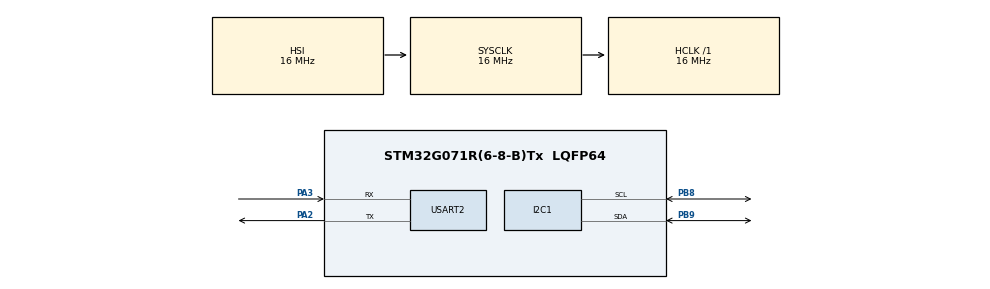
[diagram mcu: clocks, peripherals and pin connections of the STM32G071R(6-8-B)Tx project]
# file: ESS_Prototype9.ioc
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I2C1.Timing=0x00503D58
Mcu.Family=STM32G0
Mcu.Name=STM32G071R(6-8-B)Tx
Mcu.Package=LQFP64
NVIC.I2C1_IRQn=true\:0\:0\:false\:false\:true\:true\:true\:true
NVIC.RCC_IRQn=true\:0\:0\:false\:false\:true\:true\:false\:true
NVIC.USART2_IRQn=true\:0\:0\:false\:false\:true\:true\:true\:true
PA13.Mode=Serial_Wire
PA13.Signal=SYS_SWDIO
PA14-BOOT0.Mode=Serial_Wire
PA14-BOOT0.Signal=SYS_SWCLK
PA2.Mode=Asynchronous
PA2.Signal=USART2_TX
PA3.Mode=Asynchronous
PA3.Signal=USART2_RX
PB8.Mode=I2C
PB8.Signal=I2C1_SCL
PB9.Mode=I2C
PB9.Signal=I2C1_SDA
ProjectManager.HeapSize=0x200
ProjectManager.StackSize=0x400
ProjectManager.TargetToolchain=STM32CubeIDE
RCC.AHBFreq_Value=16000000
RCC.CortexFreq_Value=16000000
RCC.EXTERNAL_CLOCK_VALUE=48000
RCC.HCLKFreq_Value=16000000
RCC.HSE_VALUE=8000000
RCC.HSI_VALUE=16000000
RCC.LSE_VALUE=32768
RCC.SYSCLKFreq_VALUE=16000000
RCC.VCOOutputFreq_Value=128000000
USART2.VirtualMode-Asynchronous=VM_ASYNC
board=custom

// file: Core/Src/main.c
/* USER CODE BEGIN Header */
/**
  ******************************************************************************
  * @file           : main.c
  * @brief          : Main program body
  ******************************************************************************
  * @attention
  *
  * Copyright (c) 2025 STMicroelectronics.
  * All rights reserved.
  *
  * This software is licensed under terms that can be found in the LICENSE file
  * in the root directory of this software component.
  * If no LICENSE file comes with this software, it is provided AS-IS.
  *
  ******************************************************************************
  */
/* USER CODE END Header */
#include "main.h"
#include "i2c.h"
#include "usart.h"
#include "gpio.h"

/* USER CODE BEGIN Includes */
#include "bme68x.h"
#include "bme68x_defs.h"
#include <stdio.h>
#include <string.h>
#include <math.h>
/* USER CODE END Includes */

/* USER CODE BEGIN PD */
#define BME68X_I2C_ADDR  0x77  // Your BME680 I2C address

/* USER CODE END PD */

/* USER CODE BEGIN PV */
extern I2C_HandleTypeDef hi2c1;
extern UART_HandleTypeDef huart2;

struct bme68x_dev bme;
struct bme68x_conf conf;
struct bme68x_heatr_conf heatr_conf;
struct bme68x_data data;

uint8_t rx_byte;
char command_buffer[32];
uint8_t cmd_index = 0;

/* USER CODE END PV */

void SystemClock_Config(void);

/* USER CODE BEGIN 0 */
int _write(int file, char *ptr, int len) {
    HAL_UART_Transmit(&huart2, (uint8_t*)ptr, len, HAL_MAX_DELAY);
    return len;
}

int8_t user_i2c_read(uint8_t reg_addr, uint8_t *data, uint32_t len, void *intf_ptr) {
    I2C_HandleTypeDef *hi2c = (I2C_HandleTypeDef*)intf_ptr;
    if (HAL_I2C_Mem_Read(hi2c, BME68X_I2C_ADDR << 1, reg_addr,
                         I2C_MEMADD_SIZE_8BIT, data, len, HAL_MAX_DELAY) == HAL_OK)
        return 0;
    else
        return -1;
}

int8_t user_i2c_write(uint8_t reg_addr, const uint8_t *data, uint32_t len, void *intf_ptr) {
    I2C_HandleTypeDef *hi2c = (I2C_HandleTypeDef*)intf_ptr;
    if (HAL_I2C_Mem_Write(hi2c, BME68X_I2C_ADDR << 1, reg_addr,
                          I2C_MEMADD_SIZE_8BIT, (uint8_t*)data, len, HAL_MAX_DELAY) == HAL_OK)
        return 0;
    else
        return -1;
}

void user_delay_us(uint32_t period, void *intf_ptr) {
    // crude software delay loop (not precise)
    for (volatile uint32_t i = 0; i < period * 10; i++) {
        __NOP();
    }
}

void BME680_Init(void) {
    bme.intf = BME68X_I2C_INTF;
    bme.read = user_i2c_read;
    bme.write = user_i2c_write;
    bme.delay_us = user_delay_us;
    bme.intf_ptr = &hi2c1;

    if (bme68x_init(&bme) != BME68X_OK) {
        printf("BME680 init failed!\r\n");
        while (1);
    }

    // Sensor configuration (optimized for BME680)
    conf.os_temp = BME68X_OS_8X;
    conf.os_pres = BME68X_OS_4X;
    conf.os_hum = BME68X_OS_2X;
    conf.filter = BME68X_FILTER_SIZE_3;
    conf.odr = BME68X_ODR_NONE;
    bme68x_set_conf(&conf, &bme);

    // Heater configuration
    heatr_conf.enable = BME68X_ENABLE;
    heatr_conf.heatr_temp = 320;     // °C
    heatr_conf.heatr_dur = 150;      // ms
    bme68x_set_heatr_conf(BME68X_FORCED_MODE, &heatr_conf, &bme);

    printf("BME680 Initialized.\r\n");

    // Warm-up dummy read
    bme68x_set_op_mode(BME68X_FORCED_MODE, &bme);
    uint32_t delay_us = bme68x_get_meas_dur(BME68X_FORCED_MODE, &conf, &bme) + heatr_conf.heatr_dur * 1000;
    user_delay_us(delay_us, bme.intf_ptr);

    uint8_t n_fields;
    bme68x_get_data(BME68X_FORCED_MODE, &data, &n_fields, &bme);
}

/*void BME680_Init(void) {
    int8_t rslt;

    bme.intf = BME68X_I2C_INTF;
    bme.read = user_i2c_read;
    bme.write = user_i2c_write;
    bme.delay_us = user_delay_us;
    bme.intf_ptr = &hi2c1;

    rslt = bme68x_init(&bme);
    if (rslt != BME68X_OK) {
        printf("BME680 init failed: %d\r\n", rslt);
        while (1);
    }

    // Set oversampling, filter
    conf.os_temp = BME68X_OS_8X;
    conf.os_pres = BME68X_OS_4X;
    conf.os_hum = BME68X_OS_2X;
    conf.filter = BME68X_FILTER_SIZE_3;
    conf.odr = BME68X_ODR_NONE;
    bme68x_set_conf(&conf, &bme);

    // Set heater for 320°C for 150 ms (standard)
    heatr_conf.enable = BME68X_ENABLE;
    heatr_conf.heatr_temp = 320;     // °C
    heatr_conf.heatr_dur = 150;      // ms
    bme68x_set_heatr_conf(BME68X_FORCED_MODE, &heatr_conf, &bme);

    printf("BME680 Initialized.\r\n");

    // Optional: test 1st measurement right after init
    bme68x_set_op_mode(BME68X_FORCED_MODE, &bme);
    uint32_t delay_us = bme68x_get_meas_dur(BME68X_FORCED_MODE, &conf, &bme) + heatr_conf.heatr_dur * 1000;
    user_delay_us(delay_us, bme.intf_ptr);

    uint8_t n_fields = 0;
    rslt = bme68x_get_data(BME68X_FORCED_MODE, &data, &n_fields, &bme);
    if (rslt == BME68X_OK && n_fields) {
        printf("Warm-up data: T=%.2f°C, H=%.2f%%\r\n",
               data.temperature / 100.0f,
               data.humidity / 1000.0f);
    } else {
        printf("Warm-up read failed: rslt=%d, n=%d\r\n", rslt, n_fields);
    }
}*/

/*
void BME680_Init(void) {
    bme.intf = BME68X_I2C_INTF;
    bme.read = user_i2c_read;
    bme.write = user_i2c_write;
    bme.delay_us = user_delay_us;
    bme.intf_ptr = &hi2c1;

    if (bme68x_init(&bme) != BME68X_OK) {
        printf("BME680 initialization failed!\r\n");
        while (1);
    }

    conf.filter = BME68X_FILTER_OFF;
    conf.odr = BME68X_ODR_NONE;
    conf.os_hum = BME68X_OS_16X;
    conf.os_pres = BME68X_OS_1X;
    conf.os_temp = BME68X_OS_2X;
    bme68x_set_conf(&conf, &bme);

    heatr_conf.enable = BME68X_ENABLE;
    heatr_conf.heatr_temp = 320;
    heatr_conf.heatr_dur = 150;
    bme68x_set_heatr_conf(BME68X_FORCED_MODE, &heatr_conf, &bme);

    printf("BME680 Initialized.\r\n");
}
*/

void handle_command(char *cmd) {
    // Trigger measurement
    if (bme68x_set_op_mode(BME68X_FORCED_MODE, &bme) != BME68X_OK)
        return;

    uint32_t delay_us = bme68x_get_meas_dur(BME68X_FORCED_MODE, &conf, &bme) + heatr_conf.heatr_dur * 1000;
    user_delay_us(delay_us, bme.intf_ptr);

    uint8_t n_fields = 0;
    if (bme68x_get_data(BME68X_FORCED_MODE, &data, &n_fields, &bme) != BME68X_OK || n_fields == 0) {
        printf("Sensor data not available.\r\n");
        return;
    }

    float temp = data.temperature / 1.0f;
    float press = data.pressure / 100.0f;
    float hum = data.humidity / 1.0f;
    float gas = (float)data.gas_resistance;

    // Apply value sanity filters
    if (temp < -40 || temp > 85) temp = 0;        // Temperature typical range
    if (hum < 0 || hum > 100) hum = 0;            // Humidity realistic range
    if (press < 300 || press > 1100) press = 0;   // Pressure in hPa
    if (gas < 100 || gas > 1000000) gas = 0;      // Gas in Ohms

    if (strcmp(cmd, "TEMP") == 0) {
        printf("Temperature: %.2f °C\r\n", temp);
   // if (strcmp(cmd, "TEMP") == 0) {
      //  printf("Temperature: %.2f °C\r\n", 25.00);
    } else if (strcmp(cmd, "HUM") == 0) {
        printf("Humidity: %.2f %%RH\r\n", hum);
    } else if (strcmp(cmd, "PRESS") == 0) {
        printf("Pressure: %.2f hPa\r\n", press);
    } else if (strcmp(cmd, "GAS") == 0) {
        printf("Gas Resistance: %.2f Ω\r\n", gas);
    } else if (strcmp(cmd, "ALL") == 0) {
        printf("Temperature: %.2f °C\r\n", temp);
        printf("Pressure:    %.2f hPa\r\n", press);
        printf("Humidity:    %.2f %%RH\r\n", hum);
        printf("Gas:         %.2f Ω\r\n", gas);
    } else if (strcmp(cmd, "HELP") == 0) {
        printf("Available commands:\r\n");
        printf("  TEMP   - Show temperature\r\n");
        printf("  HUM    - Show humidity\r\n");
        printf("  PRESS  - Show pressure\r\n");
        printf("  GAS    - Show gas resistance\r\n");
        printf("  ALL    - Show all values\r\n");
    } else {
        printf("Unknown command: %s\r\n", cmd);
    }
}

void HAL_UART_RxCpltCallback(UART_HandleTypeDef *huart) {
    if (huart->Instance == USART2) {
        if (rx_byte == '\r' || rx_byte == '\n') {
            if (cmd_index > 0) {
                command_buffer[cmd_index] = '\0';
                printf("Command received: %s\r\n", command_buffer);
                handle_command(command_buffer);
                cmd_index = 0;
            }
        } else {
            command_buffer[cmd_index++] = rx_byte;
            if (cmd_index >= sizeof(command_buffer)) {
                cmd_index = 0;  // reset buffer to avoid overflow
            }
        }
        HAL_UART_Receive_IT(&huart2, &rx_byte, 1);  // restart interrupt
    }
}

/* USER CODE END 0 */

int main(void)
{

  /* MCU Configuration--------------------------------------------------------*/

  /* Reset of all peripherals, Initializes the Flash interface and the Systick. */
  HAL_Init();

  /* Configure the system clock */
  SystemClock_Config();

  /* Initialize all configured peripherals */
  MX_GPIO_Init();
  MX_I2C1_Init();
  MX_USART2_UART_Init();
  /* USER CODE BEGIN 2 */

  printf("STM32 BME680 CLI Project Start\r\n");

  BME680_Init();
  HAL_Delay(1000);  // Allow sensor to stabilize

  printf("Type TEMP, HUM, PRESS, GAS or ALL and hit Enter\r\n\r\n");

  HAL_UART_Receive_IT(&huart2, &rx_byte, 1); // Start receiving UART
  /* USER CODE END 2 */

  /* Infinite loop */
  /* USER CODE BEGIN WHILE */
  while (1)
  {
	  HAL_Delay(100);
    /* USER CODE END WHILE */

  }
}

void SystemClock_Config(void)
{
  RCC_OscInitTypeDef RCC_OscInitStruct = {0};
  RCC_ClkInitTypeDef RCC_ClkInitStruct = {0};

  /** Configure the main internal regulator output voltage
  */
  HAL_PWREx_ControlVoltageScaling(PWR_REGULATOR_VOLTAGE_SCALE1);

  /** Initializes the RCC Oscillators according to the specified parameters
  * in the RCC_OscInitTypeDef structure.
  */
  RCC_OscInitStruct.OscillatorType = RCC_OSCILLATORTYPE_HSI;
  RCC_OscInitStruct.HSIState = RCC_HSI_ON;
  RCC_OscInitStruct.HSIDiv = RCC_HSI_DIV1;
  RCC_OscInitStruct.HSICalibrationValue = RCC_HSICALIBRATION_DEFAULT;
  RCC_OscInitStruct.PLL.PLLState = RCC_PLL_NONE;
  if (HAL_RCC_OscConfig(&RCC_OscInitStruct) != HAL_OK)
  {
    Error_Handler();
  }

  /** Initializes the CPU, AHB and APB buses clocks
  */
  RCC_ClkInitStruct.ClockType = RCC_CLOCKTYPE_HCLK|RCC_CLOCKTYPE_SYSCLK
                              |RCC_CLOCKTYPE_PCLK1;
  RCC_ClkInitStruct.SYSCLKSource = RCC_SYSCLKSOURCE_HSI;
  RCC_ClkInitStruct.AHBCLKDivider = RCC_SYSCLK_DIV1;
  RCC_ClkInitStruct.APB1CLKDivider = RCC_HCLK_DIV1;

  if (HAL_RCC_ClockConfig(&RCC_ClkInitStruct, FLASH_LATENCY_0) != HAL_OK)
  {
    Error_Handler();
  }
}

void Error_Handler(void)
{
  __disable_irq();
  while (1)
  {
  }
}
